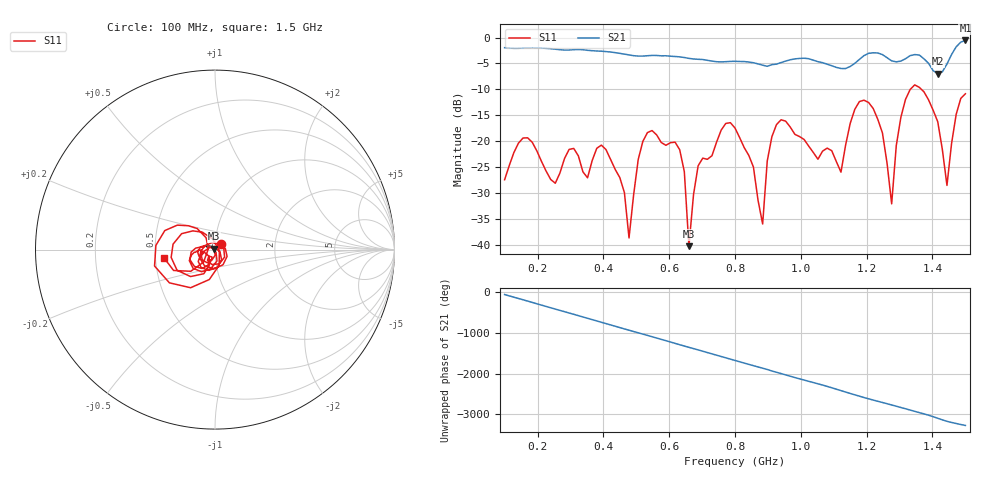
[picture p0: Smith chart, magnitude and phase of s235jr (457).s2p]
! NanoVNA-App
! Date: 2025-09-25 15:07:43
! Start: 100MHz Stop: 1,5GHz Points: 101
! S-Parameter data: F S11 S21 S12 S22
# Hz S RI R 50
!  Frequency  S11_Real  S11_Imag  S21_Real  S21_Imag  S12_Real  S12_Imag  S22_Real  S22_Imag
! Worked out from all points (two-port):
!   101 points, 100 MHz to 1.5 GHz, reference 50 ohm
!   highest |S21| = -0.57 dB at 1.5 GHz (marker M1); lowest = -7.0 dB at 1.416 GHz (marker M2)
!   |S21| within 3 dB of the highest: start of sweep to 502.9 MHz; 524 MHz to 596.7 MHz (72.71 MHz wide, 13 % of centre) (the widest 2 of 5)
!   lowest |S11| = -40.3 dB at 660 MHz (marker M3), VSWR 1.02, Z = 49.2 + j0.561 ohm
!   |S11| at or under -10 dB: start of sweep to 1.333 GHz; 1.366 GHz to end of sweep
!   S12 and S22 are empty: the file has one direction only
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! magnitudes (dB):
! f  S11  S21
! 100 MHz  -27.5  -2.0
! 156 MHz  -19.4  -2.0
! 338 MHz  -26.0  -2.4
! 408 MHz  -21.6  -2.7
! 478 MHz  -38.7  -3.4
! 520 MHz  -20.1  -3.6
! 576 MHz  -20.3  -3.5
! 632 MHz  -21.7  -3.7
! 660 MHz  -40.3  -4.0
! 688 MHz  -24.8  -4.2
! 800 MHz  -17.5  -4.6
! 884 MHz  -36.0  -5.3
! 926 MHz  -16.8  -5.1
! 1.038 GHz  -22.2  -4.4
! 1.122 GHz  -26.0  -6.0
! 1.206 GHz  -12.6  -3.1
! 1.248 GHz  -18.4  -3.3
! 1.276 GHz  -32.1  -4.5
! 1.332 GHz  -10.1  -3.5
! 1.416 GHz  -16.3  -7.0
! 1.444 GHz  -28.6  -5.1
! 1.5 GHz  -10.9  -0.6
